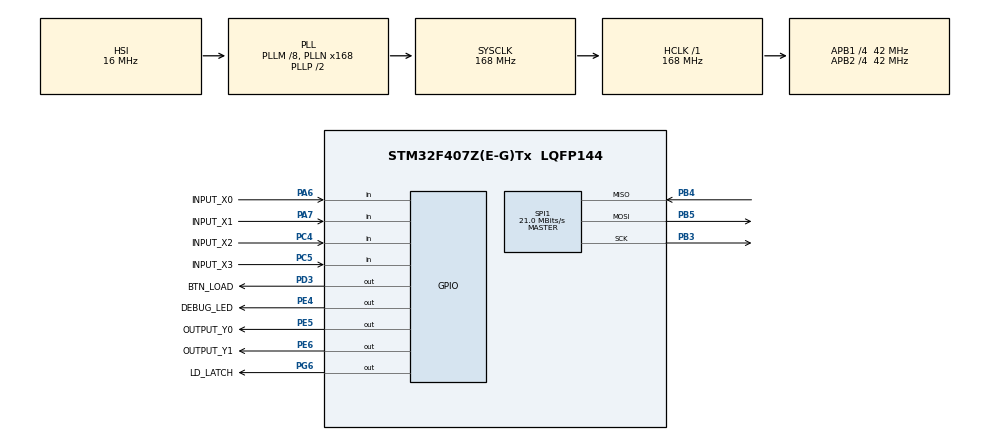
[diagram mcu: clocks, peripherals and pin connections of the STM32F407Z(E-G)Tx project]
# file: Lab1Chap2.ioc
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Mcu.Family=STM32F4
Mcu.Name=STM32F407Z(E-G)Tx
Mcu.Package=LQFP144
NVIC.PriorityGroup=NVIC_PRIORITYGROUP_4
NVIC.TIM2_IRQn=true\:0\:0\:false\:false\:true\:true\:true
PA13.Mode=Serial_Wire
PA13.Signal=SYS_JTMS-SWDIO
PA14.Mode=Serial_Wire
PA14.Signal=SYS_JTCK-SWCLK
PA6.GPIO_Label=INPUT_X0
PA6.GPIO_PuPd=GPIO_PULLDOWN
PA6.Signal=GPIO_Input
PA7.GPIO_Label=INPUT_X1
PA7.GPIO_PuPd=GPIO_PULLDOWN
PA7.Signal=GPIO_Input
PB3.Mode=Full_Duplex_Master
PB3.Signal=SPI1_SCK
PB4.Mode=Full_Duplex_Master
PB4.Signal=SPI1_MISO
PB5.Mode=Full_Duplex_Master
PB5.Signal=SPI1_MOSI
PC4.GPIO_Label=INPUT_X2
PC4.GPIO_PuPd=GPIO_PULLDOWN
PC4.Signal=GPIO_Input
PC5.GPIO_Label=INPUT_X3
PC5.GPIO_PuPd=GPIO_PULLDOWN
PC5.Signal=GPIO_Input
PD3.GPIO_Label=BTN_LOAD
PD3.Signal=GPIO_Output
PE4.GPIO_Label=DEBUG_LED
PE4.Signal=GPIO_Output
PE5.GPIO_Label=OUTPUT_Y0
PE5.Signal=GPIO_Output
PE6.GPIO_Label=OUTPUT_Y1
PE6.Signal=GPIO_Output
PG6.GPIO_Label=LD_LATCH
PG6.Signal=GPIO_Output
PH0-OSC_IN.Mode=HSE-External-Oscillator
PH0-OSC_IN.Signal=RCC_OSC_IN
PH1-OSC_OUT.Mode=HSE-External-Oscillator
PH1-OSC_OUT.Signal=RCC_OSC_OUT
ProjectManager.HeapSize=0x200
ProjectManager.StackSize=0x400
ProjectManager.TargetToolchain=STM32CubeIDE
RCC.48MHZClocksFreq_Value=84000000
RCC.AHBFreq_Value=168000000
RCC.APB1CLKDivider=RCC_HCLK_DIV4
RCC.APB1Freq_Value=42000000
RCC.APB1TimFreq_Value=84000000
RCC.APB2CLKDivider=RCC_HCLK_DIV4
RCC.APB2Freq_Value=42000000
RCC.APB2TimFreq_Value=84000000
RCC.CortexFreq_Value=168000000
RCC.HCLKFreq_Value=168000000
RCC.HSE_VALUE=8000000
RCC.HSI_VALUE=16000000
RCC.LSE_VALUE=32768
RCC.PLLM=8
RCC.PLLN=168
RCC.SYSCLKFreq_VALUE=168000000
RCC.SYSCLKSource=RCC_SYSCLKSOURCE_PLLCLK
RCC.VCOOutputFreq_Value=336000000
SPI1.CalculateBaudRate=21.0 MBits/s
SPI1.Direction=SPI_DIRECTION_2LINES
SPI1.Mode=SPI_MODE_MASTER
SPI1.VirtualType=VM_MASTER
TIM2.Period=99
TIM2.Prescaler=839
VP_TIM2_VS_ClockSourceINT.Mode=Internal
board=custom

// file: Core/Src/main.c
/* USER CODE BEGIN Header */
/**
  ******************************************************************************
  * @file           : main.c
  * @brief          : Main program body
  ******************************************************************************
  * @attention
  *
  * Copyright (c) 2024 STMicroelectronics.
  * All rights reserved.
  *
  * This software is licensed under terms that can be found in the LICENSE file
  * in the root directory of this software component.
  * If no LICENSE file comes with this software, it is provided AS-IS.
  *
  ******************************************************************************
  */
/* USER CODE END Header */
#include "main.h"

/* USER CODE BEGIN Includes */
#include "spi.h"
#include "tim.h"
#include "software_timer.h"
#include "led_7seg.h"
/* USER CODE END Includes */

void SystemClock_Config(void);
static void MX_GPIO_Init(void);
/* USER CODE BEGIN PFP */
void system_init();
void test_LedDebug();
void test_LedY0();
void test_LedY1();
void test_7seg();
/* USER CODE END PFP */

/* USER CODE BEGIN 0 */
void bai1(){
	test_LedDebug();
	test_LedY0();
	test_LedY1();
}

uint8_t count_traffic = 0;
uint8_t interval = 0;
uint8_t state = 0;

//1000, 40, 10;

///HZ///
uint8_t ms = 5;

void bai2();
void bai3();
void bai4();
void bai5();

/* USER CODE END 0 */

int main(void)
{

  /* MCU Configuration--------------------------------------------------------*/

  /* Reset of all peripherals, Initializes the Flash interface and the Systick. */
  HAL_Init();

  /* Configure the system clock */
  SystemClock_Config();

  /* Initialize all configured peripherals */
  MX_GPIO_Init();
  MX_SPI1_Init();
  MX_TIM2_Init();
  /* USER CODE BEGIN 2 */
  system_init();
//  led7_SetColon(1);
  /* USER CODE END 2 */

  /* Infinite loop */
  /* USER CODE BEGIN WHILE */
  while (1)
  {
	  while(!flag_timer2);
	  flag_timer2 = 0;
//	  bai1();
//	  bai2();
//	  bai3();
//	  bai4();
	  bai5();
//	  test_7seg();
    /* USER CODE END WHILE */

  }
}

void SystemClock_Config(void)
{
  RCC_OscInitTypeDef RCC_OscInitStruct = {0};
  RCC_ClkInitTypeDef RCC_ClkInitStruct = {0};

  /** Configure the main internal regulator output voltage
  */
  __HAL_RCC_PWR_CLK_ENABLE();
  __HAL_PWR_VOLTAGESCALING_CONFIG(PWR_REGULATOR_VOLTAGE_SCALE1);

  /** Initializes the RCC Oscillators according to the specified parameters
  * in the RCC_OscInitTypeDef structure.
  */
  RCC_OscInitStruct.OscillatorType = RCC_OSCILLATORTYPE_HSI;
  RCC_OscInitStruct.HSIState = RCC_HSI_ON;
  RCC_OscInitStruct.HSICalibrationValue = RCC_HSICALIBRATION_DEFAULT;
  RCC_OscInitStruct.PLL.PLLState = RCC_PLL_ON;
  RCC_OscInitStruct.PLL.PLLSource = RCC_PLLSOURCE_HSI;
  RCC_OscInitStruct.PLL.PLLM = 8;
  RCC_OscInitStruct.PLL.PLLN = 168;
  RCC_OscInitStruct.PLL.PLLP = RCC_PLLP_DIV2;
  RCC_OscInitStruct.PLL.PLLQ = 4;
  if (HAL_RCC_OscConfig(&RCC_OscInitStruct) != HAL_OK)
  {
    Error_Handler();
  }

  /** Initializes the CPU, AHB and APB buses clocks
  */
  RCC_ClkInitStruct.ClockType = RCC_CLOCKTYPE_HCLK|RCC_CLOCKTYPE_SYSCLK
                              |RCC_CLOCKTYPE_PCLK1|RCC_CLOCKTYPE_PCLK2;
  RCC_ClkInitStruct.SYSCLKSource = RCC_SYSCLKSOURCE_PLLCLK;
  RCC_ClkInitStruct.AHBCLKDivider = RCC_SYSCLK_DIV1;
  RCC_ClkInitStruct.APB1CLKDivider = RCC_HCLK_DIV4;
  RCC_ClkInitStruct.APB2CLKDivider = RCC_HCLK_DIV4;

  if (HAL_RCC_ClockConfig(&RCC_ClkInitStruct, FLASH_LATENCY_5) != HAL_OK)
  {
    Error_Handler();
  }
}

static void MX_GPIO_Init(void)
{
  GPIO_InitTypeDef GPIO_InitStruct = {0};

  /* GPIO Ports Clock Enable */
  __HAL_RCC_GPIOE_CLK_ENABLE();
  __HAL_RCC_GPIOH_CLK_ENABLE();
  __HAL_RCC_GPIOA_CLK_ENABLE();
  __HAL_RCC_GPIOC_CLK_ENABLE();
  __HAL_RCC_GPIOG_CLK_ENABLE();
  __HAL_RCC_GPIOD_CLK_ENABLE();
  __HAL_RCC_GPIOB_CLK_ENABLE();

  /*Configure GPIO pin Output Level */
  HAL_GPIO_WritePin(GPIOE, DEBUG_LED_Pin|OUTPUT_Y0_Pin|OUTPUT_Y1_Pin, GPIO_PIN_RESET);

  /*Configure GPIO pin Output Level */
  HAL_GPIO_WritePin(LD_LATCH_GPIO_Port, LD_LATCH_Pin, GPIO_PIN_RESET);

  /*Configure GPIO pin Output Level */
  HAL_GPIO_WritePin(BTN_LOAD_GPIO_Port, BTN_LOAD_Pin, GPIO_PIN_RESET);

  /*Configure GPIO pins : DEBUG_LED_Pin OUTPUT_Y0_Pin OUTPUT_Y1_Pin */
  GPIO_InitStruct.Pin = DEBUG_LED_Pin|OUTPUT_Y0_Pin|OUTPUT_Y1_Pin;
  GPIO_InitStruct.Mode = GPIO_MODE_OUTPUT_PP;
  GPIO_InitStruct.Pull = GPIO_NOPULL;
  GPIO_InitStruct.Speed = GPIO_SPEED_FREQ_LOW;
  HAL_GPIO_Init(GPIOE, &GPIO_InitStruct);

  /*Configure GPIO pins : INPUT_X0_Pin INPUT_X1_Pin */
  GPIO_InitStruct.Pin = INPUT_X0_Pin|INPUT_X1_Pin;
  GPIO_InitStruct.Mode = GPIO_MODE_INPUT;
  GPIO_InitStruct.Pull = GPIO_NOPULL;
  HAL_GPIO_Init(GPIOA, &GPIO_InitStruct);

  /*Configure GPIO pins : INPUT_X2_Pin INPUT_X3_Pin */
  GPIO_InitStruct.Pin = INPUT_X2_Pin|INPUT_X3_Pin;
  GPIO_InitStruct.Mode = GPIO_MODE_INPUT;
  GPIO_InitStruct.Pull = GPIO_NOPULL;
  HAL_GPIO_Init(GPIOC, &GPIO_InitStruct);

  /*Configure GPIO pin : LD_LATCH_Pin */
  GPIO_InitStruct.Pin = LD_LATCH_Pin;
  GPIO_InitStruct.Mode = GPIO_MODE_OUTPUT_PP;
  GPIO_InitStruct.Pull = GPIO_NOPULL;
  GPIO_InitStruct.Speed = GPIO_SPEED_FREQ_LOW;
  HAL_GPIO_Init(LD_LATCH_GPIO_Port, &GPIO_InitStruct);

  /*Configure GPIO pin : BTN_LOAD_Pin */
  GPIO_InitStruct.Pin = BTN_LOAD_Pin;
  GPIO_InitStruct.Mode = GPIO_MODE_OUTPUT_PP;
  GPIO_InitStruct.Pull = GPIO_NOPULL;
  GPIO_InitStruct.Speed = GPIO_SPEED_FREQ_LOW;
  HAL_GPIO_Init(BTN_LOAD_GPIO_Port, &GPIO_InitStruct);

}

/* USER CODE BEGIN 4 */
void system_init(){
	  HAL_GPIO_WritePin(OUTPUT_Y0_GPIO_Port, OUTPUT_Y0_Pin, 0);
	  HAL_GPIO_WritePin(OUTPUT_Y1_GPIO_Port, OUTPUT_Y1_Pin, 0);
	  HAL_GPIO_WritePin(DEBUG_LED_GPIO_Port, DEBUG_LED_Pin, 0);
	  timer_init();
	  led7_init();
	  setTimer2(ms);
}

uint8_t count_led_debug = 0;
uint8_t count_led_Y0 = 0;
uint8_t count_led_Y1 = 0;
int ledInterval = 2000;
int Y0Interval = 6000;
int Y1Interval = 6000;

void test_LedDebug(){
	count_led_debug = (count_led_debug + 1)%(2000/ms);
	if(count_led_debug == 0){
		HAL_GPIO_TogglePin(DEBUG_LED_GPIO_Port, DEBUG_LED_Pin);
	}
}

void test_LedY0(){
	count_led_Y0 = (count_led_Y0+ 1)%(6000/ms);
	if(count_led_Y0 > (2000/ms)){
		HAL_GPIO_WritePin(OUTPUT_Y0_GPIO_Port, OUTPUT_Y0_Pin, 0);
	} else {
		HAL_GPIO_WritePin(OUTPUT_Y0_GPIO_Port, OUTPUT_Y0_Pin, 1);
	}
}

void test_LedY1(){
	count_led_Y1 = (count_led_Y1+ 1)%(6000/ms);
	if(count_led_Y1 > (5000/ms)){
		HAL_GPIO_WritePin(OUTPUT_Y1_GPIO_Port, OUTPUT_Y1_Pin, 0);
	} else {
		HAL_GPIO_WritePin(OUTPUT_Y1_GPIO_Port, OUTPUT_Y1_Pin, 1);
	}
}

void test_7seg(){
	led7_SetDigit(1, 0, 0);
	led7_SetDigit(5, 1, 0);
	led7_SetDigit(4, 2, 0);
	led7_SetDigit(7, 3, 0);
}

void bai2(){
	count_traffic = (count_traffic+ 1)%interval;
	if(count_traffic == 0){
		switch (state){
			case 0:
				HAL_GPIO_WritePin(DEBUG_LED_GPIO_Port, DEBUG_LED_Pin, 0);
				HAL_GPIO_WritePin(OUTPUT_Y0_GPIO_Port, OUTPUT_Y0_Pin, 0);
				HAL_GPIO_WritePin(OUTPUT_Y1_GPIO_Port, OUTPUT_Y1_Pin, 1);
				interval = (3000/ms);
				state = 1;
				break;

			case 1:
				HAL_GPIO_WritePin(DEBUG_LED_GPIO_Port, DEBUG_LED_Pin, 0);
				HAL_GPIO_WritePin(OUTPUT_Y0_GPIO_Port, OUTPUT_Y0_Pin, 1);
				HAL_GPIO_WritePin(OUTPUT_Y1_GPIO_Port, OUTPUT_Y1_Pin, 0);
				interval = (2000/ms);
				state = 2;
				break;

			case 2:
				HAL_GPIO_WritePin(OUTPUT_Y1_GPIO_Port, OUTPUT_Y1_Pin, 0);
				HAL_GPIO_WritePin(OUTPUT_Y0_GPIO_Port, OUTPUT_Y0_Pin, 0);
				HAL_GPIO_WritePin(DEBUG_LED_GPIO_Port, DEBUG_LED_Pin, 1);
				interval = (5000/ms);
				state = 0;
				break;
		}
	}
}

void bai3(){
	led7_Scan();
	test_7seg();
}

int time_counter = 1430;
uint8_t count_clock = 0;
uint8_t blink_counter = 0;
int colon = 0;
int hour = 0;
int minute = 0;

void bai4(){
	led7_Scan();
	count_clock = (count_clock+ 1)%(1000/ms);
	if(count_clock == 0){
		time_counter++;
		time_counter %= 1440;
		minute = time_counter%60;
		hour = time_counter/60;
		led7_SetDigit(minute%10, 3, 0);
		led7_SetDigit(minute/10, 2, 0);
		led7_SetDigit(hour%10, 1, 0);
		led7_SetDigit(hour/10, 0, 0);
	}
	blink_counter = (blink_counter+ 1)%(500/ms);
	if(blink_counter == 0) {
		colon = 1-colon;
		led7_SetColon(colon);
	}
}
int a = 1, b = 3, c = 5, d = 2;
uint8_t shift_clock = 0;

void bai5(){
	led7_Scan();
    shift_clock = (shift_clock + 1) % (1000 / ms);

    if (shift_clock == 0){
    	int temp = d;
        d = c;
        c = b;
        b = a;
        a = temp;
        led7_SetDigit(d, 3, 0);
        led7_SetDigit(c, 2, 0);
        led7_SetDigit(b, 1, 0);
        led7_SetDigit(a, 0, 0);
    }
}

/* USER CODE END 4 */

void Error_Handler(void)
{
  __disable_irq();
  while (1)
  {
  }
}
